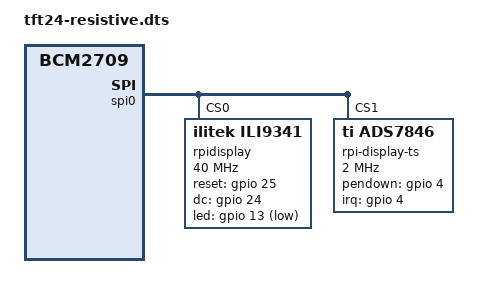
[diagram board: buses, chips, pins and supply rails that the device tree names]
/*
 * Device Tree overlay for rpi-display by Watterott
 *
 */

/dts-v1/;
/plugin/;

/ {
	compatible = "brcm,bcm2835", "brcm,bcm2708", "brcm,bcm2709";

	fragment@0 {
		target = <&spi0>;
		__overlay__ {
			status = "okay";

			spidev@0{
				status = "disabled";
			};

			spidev@1{
				status = "disabled";
			};
		};
	};

	fragment@1 {
		target = <&gpio>;
		__overlay__ {
			rpi_display_pins: rpi_display_pins {
				brcm,pins = <25 24 13 4>;
				brcm,function = <1 1 1 0>; /* out out out in */
			};
		};
	};

	fragment@2 {
		target = <&spi0>;
		__overlay__ {
			/* needed to avoid dtc warning */
			#address-cells = <1>;
			#size-cells = <0>;

			rpidisplay: rpi-display@0{
				compatible = "ilitek,ili9341";
				reg = <0>;
				pinctrl-names = "default";
				pinctrl-0 = <&rpi_display_pins>;

				spi-max-frequency = <40000000>;
				rotate = <90>;
				bgr;
				fps = <60>;
				buswidth = <8>;
				reset-gpios = <&gpio 25 0>;
				dc-gpios = <&gpio 24 0>;
				led-gpios = <&gpio 13 1>;
				debug = <0>;
			};

			rpi-display-ts@1 {
				compatible = "ti,ads7846";
				reg = <1>;

				spi-max-frequency = <2000000>;
				interrupts = <4 2>; /* high-to-low edge triggered */
				interrupt-parent = <&gpio>;
				pendown-gpio = <&gpio 4 0>;
				ti,x-plate-ohms = /bits/ 16 <60>;
				ti,pressure-max = /bits/ 16 <255>;
			};
		};
	};
	__overrides__ {
		speed =   <&rpidisplay>,"spi-max-frequency:0";
		rotate =  <&rpidisplay>,"rotate:0";
		fps =     <&rpidisplay>,"fps:0";
		debug =   <&rpidisplay>,"debug:0";
	};
};

